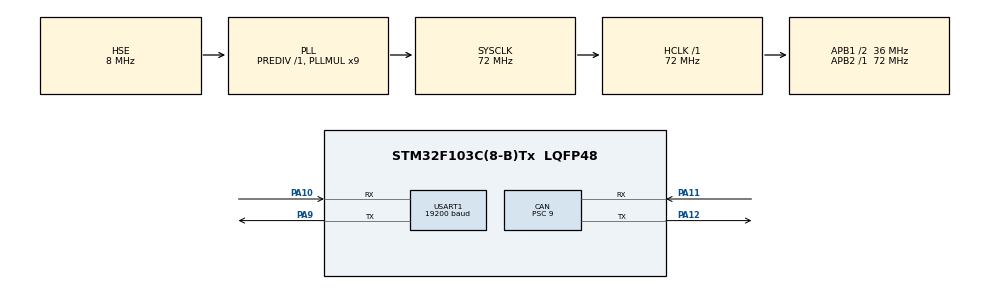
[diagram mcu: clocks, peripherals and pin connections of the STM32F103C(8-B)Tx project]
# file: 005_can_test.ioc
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CAN.BS1=CAN_BS1_5TQ
CAN.BS2=CAN_BS2_2TQ
CAN.CalculateBaudRate=500000
CAN.CalculateTimeBit=2000
CAN.CalculateTimeQuantum=250.0
CAN.Prescaler=9
Dma.Request0=USART1_TX
Dma.USART1_TX.0.Direction=DMA_MEMORY_TO_PERIPH
Dma.USART1_TX.0.Instance=DMA1_Channel4
Dma.USART1_TX.0.MemDataAlignment=DMA_MDATAALIGN_BYTE
Dma.USART1_TX.0.MemInc=DMA_MINC_ENABLE
Dma.USART1_TX.0.Mode=DMA_NORMAL
Dma.USART1_TX.0.PeriphDataAlignment=DMA_PDATAALIGN_BYTE
Dma.USART1_TX.0.PeriphInc=DMA_PINC_DISABLE
Dma.USART1_TX.0.Priority=DMA_PRIORITY_LOW
Mcu.Family=STM32F1
Mcu.Name=STM32F103C(8-B)Tx
Mcu.Package=LQFP48
NVIC.DMA1_Channel4_IRQn=true\:0\:0\:false\:false\:true\:false\:true\:true
NVIC.PriorityGroup=NVIC_PRIORITYGROUP_4
NVIC.USART1_IRQn=true\:0\:0\:false\:false\:true\:false\:true\:true
PA10.Mode=Asynchronous
PA10.Signal=USART1_RX
PA11.Mode=CAN_Activate
PA11.Signal=CAN_RX
PA12.Mode=CAN_Activate
PA12.Signal=CAN_TX
PA9.Mode=Asynchronous
PA9.Signal=USART1_TX
PC14-OSC32_IN.Mode=LSE-External-Oscillator
PC14-OSC32_IN.Signal=RCC_OSC32_IN
PC15-OSC32_OUT.Mode=LSE-External-Oscillator
PC15-OSC32_OUT.Signal=RCC_OSC32_OUT
PD0-OSC_IN.Mode=HSE-External-Oscillator
PD0-OSC_IN.Signal=RCC_OSC_IN
PD1-OSC_OUT.Mode=HSE-External-Oscillator
PD1-OSC_OUT.Signal=RCC_OSC_OUT
ProjectManager.HeapSize=0x200
ProjectManager.StackSize=0x400
ProjectManager.TargetToolchain=Makefile
RCC.AHBFreq_Value=72000000
RCC.APB1CLKDivider=RCC_HCLK_DIV2
RCC.APB1Freq_Value=36000000
RCC.APB1TimFreq_Value=72000000
RCC.APB2Freq_Value=72000000
RCC.APB2TimFreq_Value=72000000
RCC.HCLKFreq_Value=72000000
RCC.PLLMUL=RCC_PLL_MUL9
RCC.PLLSourceVirtual=RCC_PLLSOURCE_HSE
RCC.SYSCLKFreq_VALUE=72000000
RCC.SYSCLKSource=RCC_SYSCLKSOURCE_PLLCLK
RCC.USBFreq_Value=72000000
USART1.BaudRate=19200
USART1.Mode=MODE_TX_RX
USART1.VirtualMode=VM_ASYNC
VP_SYS_VS_ND.Mode=No_Debug
board=custom

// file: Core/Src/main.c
/* USER CODE BEGIN Header */
/**
 ******************************************************************************
 * @file           : main.c
 * @brief          : Main program body
 ******************************************************************************
 * @attention
 *
 * Copyright (c) 2024 STMicroelectronics.
 * All rights reserved.
 *
 * This software is licensed under terms that can be found in the LICENSE file
 * in the root directory of this software component.
 * If no LICENSE file comes with this software, it is provided AS-IS.
 *
 ******************************************************************************
 */
/* USER CODE END Header */
#include "main.h"
#include "can.h"
#include "dma.h"
#include "gpio.h"
#include "stm32f1xx_hal.h"
#include "stm32f1xx_hal_can.h"
#include "stm32f1xx_hal_uart.h"
#include "usart.h"
#include <stdint.h>

void SystemClock_Config(void);

/* USER CODE BEGIN 0 */

CAN_TxHeaderTypeDef g_txHeader_handle;
CAN_RxHeaderTypeDef g_rxHeader_handle;

uint8_t dma_buffer[64], transbuff[8];

void debug_display() {
  HAL_CAN_StateTypeDef status = HAL_CAN_GetState(&hcan);
  uint32_t tx_level = HAL_CAN_GetTxMailboxesFreeLevel(&hcan);
  uint32_t rx_level = HAL_CAN_GetRxFifoFillLevel(&hcan, CAN_FILTER_FIFO0);

  memset(transbuff, 0, sizeof(transbuff));

  if (rx_level > 0) {
    HAL_CAN_GetRxMessage(&hcan, CAN_FILTER_FIFO0, &g_rxHeader_handle,
                         transbuff);
  }

  sprintf(
      (char *)dma_buffer,
      "CAN status: %d, TX level: %d, RX level: %d\nRX message: %d, %d, %d\n",
      status, tx_level, rx_level, transbuff[0], transbuff[1], transbuff[2]);

  HAL_UART_Transmit_DMA(&huart1, dma_buffer, strlen((char *)dma_buffer));
}

void send_msg(uint32_t id, uint8_t *data, uint8_t len) {

  uint32_t mailbox = CAN_TX_MAILBOX0;

  g_txHeader_handle.DLC = len;
  g_txHeader_handle.StdId = id;
  g_txHeader_handle.RTR = CAN_RTR_DATA;
  g_txHeader_handle.IDE = CAN_ID_STD;

  HAL_CAN_AddTxMessage(&hcan, &g_txHeader_handle, data, &mailbox);
}

void HAL_UART_RxCpltCallback(UART_HandleTypeDef *huart) {
  if (huart->Instance == USART1) {
    send_msg(0, transbuff, sizeof(transbuff));
  }

  HAL_UART_Receive_IT(huart, transbuff, sizeof(transbuff));
}

/* USER CODE END 0 */

int main(void) {

  /* MCU Configuration--------------------------------------------------------*/

  /* Reset of all peripherals, Initializes the Flash interface and the Systick.
   */
  HAL_Init();

  /* Configure the system clock */
  SystemClock_Config();

  /* Initialize all configured peripherals */
  MX_GPIO_Init();
  MX_DMA_Init();
  MX_CAN_Init();
  MX_USART1_UART_Init();
  /* USER CODE BEGIN 2 */

  HAL_CAN_Start(&hcan);
  HAL_UART_Receive_IT(&huart1, transbuff, sizeof(transbuff));
  debug_display();

  /* USER CODE END 2 */

  /* Infinite loop */
  /* USER CODE BEGIN WHILE */
  while (1) {

    HAL_Delay(500);
    debug_display();

    /* USER CODE END WHILE */

  }
}

void SystemClock_Config(void) {
  RCC_OscInitTypeDef RCC_OscInitStruct = {0};
  RCC_ClkInitTypeDef RCC_ClkInitStruct = {0};

  /** Initializes the RCC Oscillators according to the specified parameters
   * in the RCC_OscInitTypeDef structure.
   */
  RCC_OscInitStruct.OscillatorType = RCC_OSCILLATORTYPE_HSE;
  RCC_OscInitStruct.HSEState = RCC_HSE_ON;
  RCC_OscInitStruct.HSEPredivValue = RCC_HSE_PREDIV_DIV1;
  RCC_OscInitStruct.HSIState = RCC_HSI_ON;
  RCC_OscInitStruct.PLL.PLLState = RCC_PLL_ON;
  RCC_OscInitStruct.PLL.PLLSource = RCC_PLLSOURCE_HSE;
  RCC_OscInitStruct.PLL.PLLMUL = RCC_PLL_MUL9;
  if (HAL_RCC_OscConfig(&RCC_OscInitStruct) != HAL_OK) {
    Error_Handler();
  }

  /** Initializes the CPU, AHB and APB buses clocks
   */
  RCC_ClkInitStruct.ClockType = RCC_CLOCKTYPE_HCLK | RCC_CLOCKTYPE_SYSCLK |
                                RCC_CLOCKTYPE_PCLK1 | RCC_CLOCKTYPE_PCLK2;
  RCC_ClkInitStruct.SYSCLKSource = RCC_SYSCLKSOURCE_PLLCLK;
  RCC_ClkInitStruct.AHBCLKDivider = RCC_SYSCLK_DIV1;
  RCC_ClkInitStruct.APB1CLKDivider = RCC_HCLK_DIV2;
  RCC_ClkInitStruct.APB2CLKDivider = RCC_HCLK_DIV1;

  if (HAL_RCC_ClockConfig(&RCC_ClkInitStruct, FLASH_LATENCY_2) != HAL_OK) {
    Error_Handler();
  }
}

void Error_Handler(void) {
  __disable_irq();
  while (1) {
  }
}

#ifdef USE_FULL_ASSERT
/**
 * @brief  Reports the name of the source file and the source line number
 *         where the assert_param error has occurred.
 * @param  file: pointer to the source file name
 * @param  line: assert_param error line source number
 * @retval None
 */
void assert_failed(uint8_t *file, uint32_t line) {
  /* USER CODE BEGIN 6 */
  /* User can add his own implementation to report the file name and line
     number, ex: printf("Wrong parameters value: file %s on line %d\r\n", file,
     line) */
  /* USER CODE END 6 */
}
#endif /* USE_FULL_ASSERT */
